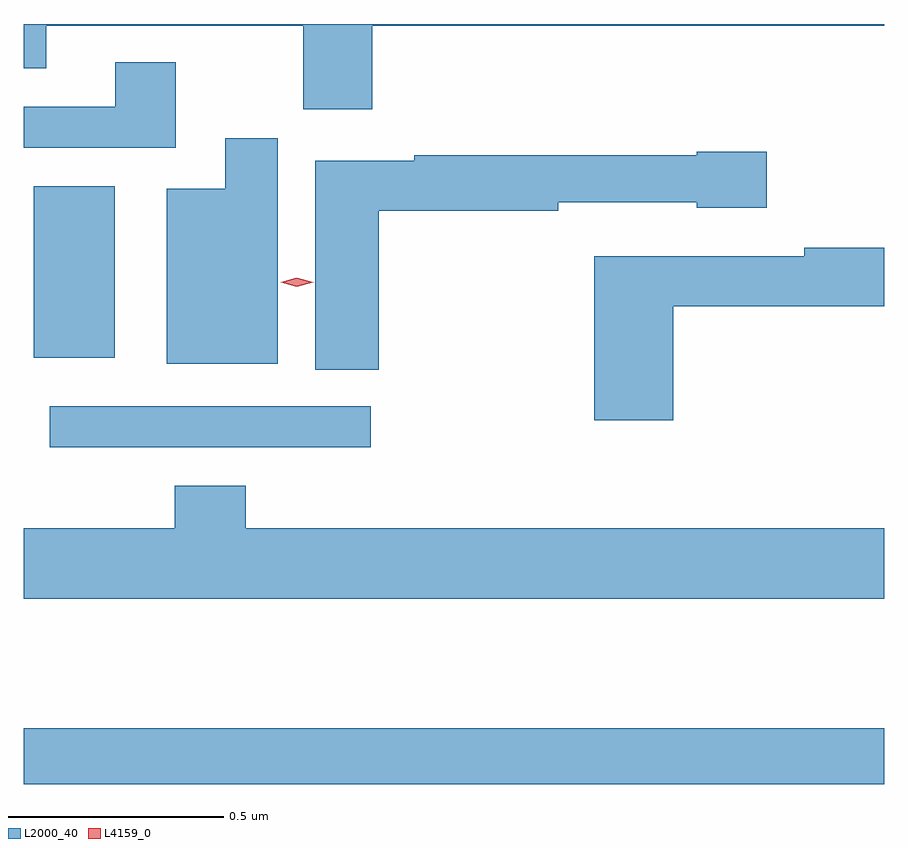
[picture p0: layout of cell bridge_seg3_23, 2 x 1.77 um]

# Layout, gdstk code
import gdstk
lib = gdstk.Library(unit=1e-6, precision=1e-09)
def R(c, l, rs):  # rectangles x0, y0, x1, y1
    for r in rs: c.add(gdstk.rectangle(r[:2], r[2:], *l))
def P(c, l, *ps):  # polygons
    for p in ps: c.add(gdstk.Polygon(p, *l))
L2000_40 = (2000, 40)
L4159_0 = (4159, 0)

bridge_seg3_23 = lib.new_cell('bridge_seg3_23')
R(bridge_seg3_23, L2000_40, [(725.444,736.45,727.444,736.579), (725.505,737.232,726.25,737.328), (725.468,737.441,725.656,737.839)])
P(bridge_seg3_23, L2000_40, [(726.254,738.212),(727.444,738.212),(727.444,738.216),(725.444,738.216),(725.444,738.113),(725.497,738.113),(725.497,738.212),(726.094,738.212),(726.094,738.018),(726.254,738.018)],
  [(725.797,738.127),(725.657,738.127),(725.657,738.024),(725.444,738.024),(725.444,737.928),(725.797,737.928)],
  [(726.034,737.95),(725.912,737.95),(725.912,737.833),(725.777,737.833),(725.777,737.426),(726.034,737.426)],
  [(726.269,737.782),(726.686,737.782),(726.686,737.802),(727.008,737.802),(727.008,737.789),(727.171,737.789),(727.171,737.919),(727.008,737.919),(727.008,737.911),(726.352,737.911),(726.352,737.898),(726.122,737.898),(726.122,737.413),(726.269,737.413)],
  [(726.953,737.56),(727.444,737.56),(727.444,737.696),(727.258,737.696),(727.258,737.676),(726.77,737.676),(726.77,737.295),(726.953,737.295)],
  [(727.444,737.044),(725.96,737.044),(725.96,737.143),(725.795,737.143),(725.795,737.044),(725.444,737.044),(725.444,736.88),(727.444,736.88)])
P(bridge_seg3_23, L4159_0, [(726.079,737.606),(726.041,737.616),(726.041,737.616),(726.041,737.616),(726.079,737.626),(726.117,737.616),(726.118,737.616),(726.117,737.616)])

lib.write_gds('bridge_seg3_23.gds')
